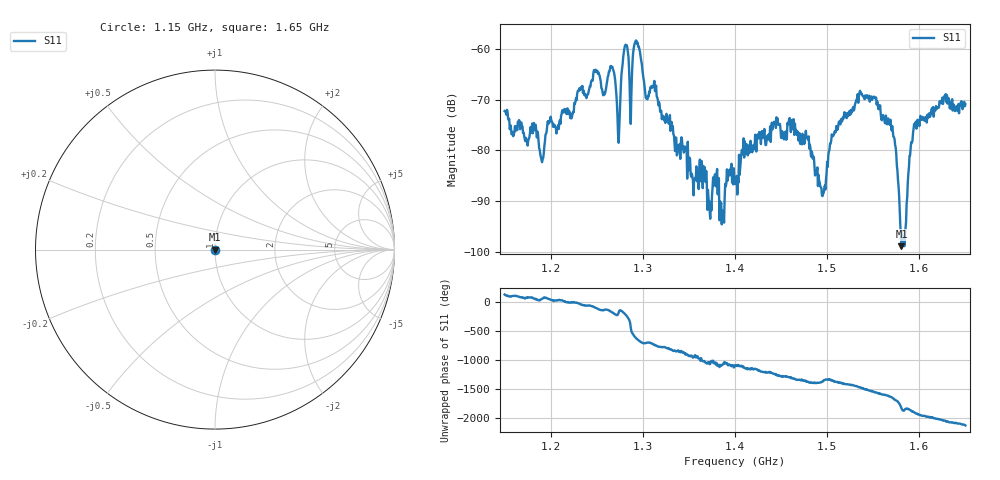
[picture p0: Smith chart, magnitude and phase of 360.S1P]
! C:\Users\rflab\Downloads\Lab5_KD_ZW\Q2\360.S1P
! Touchstone 1.1 file saved by VNA.EXE V1.65 (www.ke5fx.com/gpib/readme.htm)
! 11/12/2024 1:33:53 AM
!  Source: HEWLETT PACKARD,8753D,0,6.14
!  Min freq: 1.150000E+009 Hz
!  Max freq: 1.650000E+009 Hz
!  Points: 801
!  Params: S21
# GHZ S RI R 50
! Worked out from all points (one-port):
!   801 points, 1.15 GHz to 1.65 GHz, reference 50 ohm
!   lowest |S11| = -98.9 dB at 1.581 GHz (marker M1), VSWR 1.00, Z = 50 - j0.0007 ohm
!   |S11| at or under -10 dB: start of sweep to end of sweep
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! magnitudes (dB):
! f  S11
! 1.15 GHz  -72.3
! 1.174 GHz  -78.2
! 1.182 GHz  -74.6
! 1.19 GHz  -81.8
! 1.199 GHz  -74.5
! 1.212 GHz  -72.1
! 1.249 GHz  -64.1
! 1.258 GHz  -68.7
! 1.266 GHz  -63.6
! 1.269 GHz  -64.7
! 1.272 GHz  -73.5
! 1.275 GHz  -72.2
! 1.281 GHz  -59.4
! 1.287 GHz  -74.8
! 1.293 GHz  -58.5
! 1.304 GHz  -69.8
! 1.312 GHz  -67.1
! 1.337 GHz  -80.7
! 1.4 GHz  -86.6
! 1.462 GHz  -75.1
! 1.5 GHz  -82.2
! 1.525 GHz  -73.0
! 1.551 GHz  -69.4
! 1.581 GHz  -98.9
! 1.587 GHz  -86.3
! 1.597 GHz  -75.7
! 1.626 GHz  -70.3
! 1.65 GHz  -70.9
